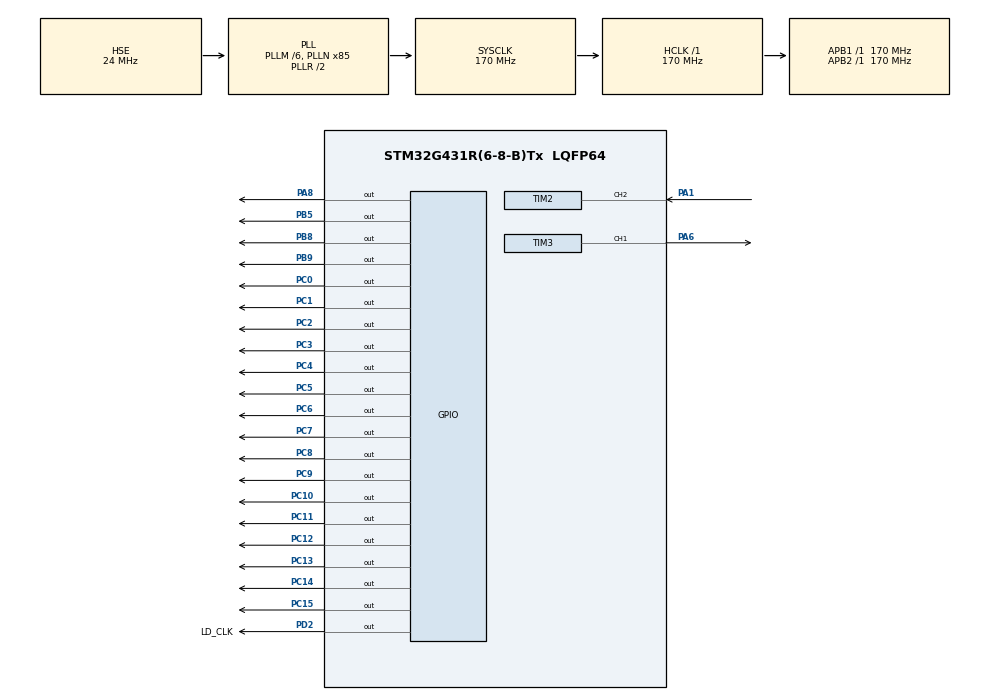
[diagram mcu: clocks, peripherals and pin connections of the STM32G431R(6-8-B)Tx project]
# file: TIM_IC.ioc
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Mcu.Family=STM32G4
Mcu.Name=STM32G431R(6-8-B)Tx
Mcu.Package=LQFP64
NVIC.PriorityGroup=NVIC_PRIORITYGROUP_4
NVIC.TIM2_IRQn=true\:0\:0\:false\:false\:true\:true\:true
NVIC.TIM3_IRQn=true\:0\:0\:false\:false\:true\:true\:true
PA1.GPIO_PuPd=GPIO_PULLDOWN
PA1.GPIO_Speed=GPIO_SPEED_FREQ_HIGH
PA1.Signal=S_TIM2_CH2
PA6.GPIO_Speed=GPIO_SPEED_FREQ_VERY_HIGH
PA6.Signal=S_TIM3_CH1
PA8.Signal=GPIO_Output
PB5.Signal=GPIO_Output
PB8-BOOT0.Signal=GPIO_Output
PB9.Signal=GPIO_Output
PC0.Signal=GPIO_Output
PC1.Signal=GPIO_Output
PC10.Signal=GPIO_Output
PC11.Signal=GPIO_Output
PC12.Signal=GPIO_Output
PC13.Signal=GPIO_Output
PC14-OSC32_IN.Signal=GPIO_Output
PC15-OSC32_OUT.Signal=GPIO_Output
PC2.Signal=GPIO_Output
PC3.Signal=GPIO_Output
PC4.Signal=GPIO_Output
PC5.Signal=GPIO_Output
PC6.Signal=GPIO_Output
PC7.Signal=GPIO_Output
PC8.Signal=GPIO_Output
PC9.Signal=GPIO_Output
PD2.GPIO_Label=LD_CLK
PD2.Signal=GPIO_Output
PF0-OSC_IN.Mode=HSE-External-Oscillator
PF0-OSC_IN.Signal=RCC_OSC_IN
PF1-OSC_OUT.Mode=HSE-External-Oscillator
PF1-OSC_OUT.Signal=RCC_OSC_OUT
ProjectManager.HeapSize=0x200
ProjectManager.StackSize=0x400
ProjectManager.TargetToolchain=MDK-ARM V5.27
RCC.ADC12Freq_Value=170000000
RCC.AHBFreq_Value=170000000
RCC.APB1Freq_Value=170000000
RCC.APB1TimFreq_Value=170000000
RCC.APB2Freq_Value=170000000
RCC.APB2TimFreq_Value=170000000
RCC.CortexFreq_Value=170000000
RCC.EXTERNAL_CLOCK_VALUE=12288000
RCC.HCLKFreq_Value=170000000
RCC.HSE_VALUE=24000000
RCC.HSI48_VALUE=48000000
RCC.HSI_VALUE=16000000
RCC.LSE_VALUE=32768
RCC.PLLM=RCC_PLLM_DIV6
RCC.PLLN=85
RCC.PLLSourceVirtual=RCC_PLLSOURCE_HSE
RCC.SYSCLKFreq_VALUE=170000000
RCC.SYSCLKSource=RCC_SYSCLKSOURCE_PLLCLK
RCC.USBFreq_Value=170000000
RCC.VCOOutputFreq_Value=340000000
SH.S_TIM2_CH2.0=TIM2_CH2,Input_Capture2_from_TI2
SH.S_TIM2_CH2.1=TIM2_CH2,Input_Capture1_from_TI2
SH.S_TIM2_CH2.2=TIM2_CH2,TriggerSource_TI2FP2
SH.S_TIM3_CH1.0=TIM3_CH1,PWM Generation1 CH1
TIM2.Channel-Input_Capture1_from_TI2=TIM_CHANNEL_1
TIM2.Channel-Input_Capture2_from_TI2=TIM_CHANNEL_2
TIM2.ICFilter_CH2=0
TIM2.ICPolarity_CH1=TIM_INPUTCHANNELPOLARITY_FALLING
TIM2.PeriodNoDither=0xffffffff
TIM2.Prescaler=170-1
TIM3.Channel-PWM\ Generation1\ CH1=TIM_CHANNEL_1
TIM3.PeriodNoDither=10-1
TIM3.Prescaler=170-1
TIM3.PulseNoDither_1=2
VP_SYS_VS_DBSignals.Mode=DisableDeadBatterySignals
VP_TIM2_VS_ClockSourceINT.Mode=Internal
VP_TIM2_VS_ControllerModeReset.Mode=Reset Mode
VP_TIM3_VS_ClockSourceINT.Mode=Internal
board=custom

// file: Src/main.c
/* USER CODE BEGIN Header */
/**
  ******************************************************************************
  * @file           : main.c
  * @brief          : Main program body
  ******************************************************************************
  * @attention
  *
  * <h2><center>&copy; Copyright (c) 2021 STMicroelectronics.
  * All rights reserved.</center></h2>
  *
  * This software component is licensed by ST under BSD 3-Clause license,
  * the "License"; You may not use this file except in compliance with the
  * License. You may obtain a copy of the License at:
  *                        opensource.org/licenses/BSD-3-Clause
  *
  ******************************************************************************
  */
/* USER CODE END Header */
#include "main.h"

/* USER CODE BEGIN Includes */
#include <stdio.h>
#include <string.h>
#include "lcd.h"
/* USER CODE END Includes */

TIM_HandleTypeDef htim2;
TIM_HandleTypeDef htim3;

/* USER CODE BEGIN PV */
/* Captured Value */
__IO uint32_t            uwIC2Value = 0;
/* Duty Cycle Value */
__IO float            uwDutyCycle = 0;
/* Frequency Value */
__IO float            uwFrequency = 0;

uint8_t buf[30];
/* USER CODE END PV */

void SystemClock_Config(void);
static void MX_GPIO_Init(void);
static void MX_TIM2_Init(void);
static void MX_TIM3_Init(void);

/* USER CODE BEGIN 0 */
//int fputc(int ch, FILE *f)
//{
//	HAL_UART_Transmit(&huart1, (uint8_t *)&ch, 1, HAL_MAX_DELAY);
//	return ch;
//}
/* USER CODE END 0 */

int main(void)
{

  /* MCU Configuration--------------------------------------------------------*/

  /* Reset of all peripherals, Initializes the Flash interface and the Systick. */
  HAL_Init();

  /* Configure the system clock */
  SystemClock_Config();

  /* Initialize all configured peripherals */
  MX_GPIO_Init();
  MX_TIM2_Init();
  MX_TIM3_Init();
  /* USER CODE BEGIN 2 */
	LCD_Init();
	LCD_Clear(White);
	LCD_SetBackColor(White);
	LCD_SetTextColor(Black);

	HAL_TIM_PWM_Start(&htim3, TIM_CHANNEL_1);
	HAL_TIM_IC_Start_IT(&htim2, TIM_CHANNEL_1);
	HAL_TIM_IC_Start_IT(&htim2, TIM_CHANNEL_2);
  /* USER CODE END 2 */

  /* Infinite loop */
  while (1)
  {

    /* USER CODE BEGIN 3 */
//		printf("%.0f\r\n", uwFrequency);
//		printf("%.0f\r\n", uwDutyCycle);
//		HAL_Delay(500);

  }
  /* USER CODE END 3 */
}

void SystemClock_Config(void)
{
  RCC_OscInitTypeDef RCC_OscInitStruct = {0};
  RCC_ClkInitTypeDef RCC_ClkInitStruct = {0};

  /** Configure the main internal regulator output voltage
  */
  HAL_PWREx_ControlVoltageScaling(PWR_REGULATOR_VOLTAGE_SCALE1_BOOST);
  /** Initializes the RCC Oscillators according to the specified parameters
  * in the RCC_OscInitTypeDef structure.
  */
  RCC_OscInitStruct.OscillatorType = RCC_OSCILLATORTYPE_HSE;
  RCC_OscInitStruct.HSEState = RCC_HSE_ON;
  RCC_OscInitStruct.PLL.PLLState = RCC_PLL_ON;
  RCC_OscInitStruct.PLL.PLLSource = RCC_PLLSOURCE_HSE;
  RCC_OscInitStruct.PLL.PLLM = RCC_PLLM_DIV6;
  RCC_OscInitStruct.PLL.PLLN = 85;
  RCC_OscInitStruct.PLL.PLLP = RCC_PLLP_DIV2;
  RCC_OscInitStruct.PLL.PLLQ = RCC_PLLQ_DIV2;
  RCC_OscInitStruct.PLL.PLLR = RCC_PLLR_DIV2;
  if (HAL_RCC_OscConfig(&RCC_OscInitStruct) != HAL_OK)
  {
    Error_Handler();
  }
  /** Initializes the CPU, AHB and APB buses clocks
  */
  RCC_ClkInitStruct.ClockType = RCC_CLOCKTYPE_HCLK|RCC_CLOCKTYPE_SYSCLK
                              |RCC_CLOCKTYPE_PCLK1|RCC_CLOCKTYPE_PCLK2;
  RCC_ClkInitStruct.SYSCLKSource = RCC_SYSCLKSOURCE_PLLCLK;
  RCC_ClkInitStruct.AHBCLKDivider = RCC_SYSCLK_DIV1;
  RCC_ClkInitStruct.APB1CLKDivider = RCC_HCLK_DIV1;
  RCC_ClkInitStruct.APB2CLKDivider = RCC_HCLK_DIV1;

  if (HAL_RCC_ClockConfig(&RCC_ClkInitStruct, FLASH_LATENCY_4) != HAL_OK)
  {
    Error_Handler();
  }
}

static void MX_TIM2_Init(void)
{

  TIM_ClockConfigTypeDef sClockSourceConfig = {0};
  TIM_SlaveConfigTypeDef sSlaveConfig = {0};
  TIM_MasterConfigTypeDef sMasterConfig = {0};
  TIM_IC_InitTypeDef sConfigIC = {0};

  htim2.Instance = TIM2;
  htim2.Init.Prescaler = 0;
  htim2.Init.CounterMode = TIM_COUNTERMODE_UP;
  htim2.Init.Period = 0xFFFFFFFF;
  htim2.Init.ClockDivision = TIM_CLOCKDIVISION_DIV1;
  htim2.Init.AutoReloadPreload = TIM_AUTORELOAD_PRELOAD_DISABLE;
  if (HAL_TIM_Base_Init(&htim2) != HAL_OK)
  {
    Error_Handler();
  }
  sClockSourceConfig.ClockSource = TIM_CLOCKSOURCE_INTERNAL;
  if (HAL_TIM_ConfigClockSource(&htim2, &sClockSourceConfig) != HAL_OK)
  {
    Error_Handler();
  }
  if (HAL_TIM_IC_Init(&htim2) != HAL_OK)
  {
    Error_Handler();
  }
  sSlaveConfig.SlaveMode = TIM_SLAVEMODE_RESET;
  sSlaveConfig.InputTrigger = TIM_TS_TI2FP2;
  sSlaveConfig.TriggerPolarity = TIM_INPUTCHANNELPOLARITY_RISING;
  sSlaveConfig.TriggerFilter = 0;
  if (HAL_TIM_SlaveConfigSynchro(&htim2, &sSlaveConfig) != HAL_OK)
  {
    Error_Handler();
  }
  sMasterConfig.MasterOutputTrigger = TIM_TRGO_RESET;
  sMasterConfig.MasterSlaveMode = TIM_MASTERSLAVEMODE_DISABLE;
  if (HAL_TIMEx_MasterConfigSynchronization(&htim2, &sMasterConfig) != HAL_OK)
  {
    Error_Handler();
  }
  sConfigIC.ICPolarity = TIM_INPUTCHANNELPOLARITY_FALLING;
  sConfigIC.ICSelection = TIM_ICSELECTION_INDIRECTTI;
  sConfigIC.ICPrescaler = TIM_ICPSC_DIV1;
  sConfigIC.ICFilter = 0;
  if (HAL_TIM_IC_ConfigChannel(&htim2, &sConfigIC, TIM_CHANNEL_1) != HAL_OK)
  {
    Error_Handler();
  }
  sConfigIC.ICPolarity = TIM_INPUTCHANNELPOLARITY_RISING;
  sConfigIC.ICSelection = TIM_ICSELECTION_DIRECTTI;
  if (HAL_TIM_IC_ConfigChannel(&htim2, &sConfigIC, TIM_CHANNEL_2) != HAL_OK)
  {
    Error_Handler();
  }

}

static void MX_TIM3_Init(void)
{

  TIM_ClockConfigTypeDef sClockSourceConfig = {0};
  TIM_MasterConfigTypeDef sMasterConfig = {0};
  TIM_OC_InitTypeDef sConfigOC = {0};

  htim3.Instance = TIM3;
  htim3.Init.Prescaler = 17-1;
  htim3.Init.CounterMode = TIM_COUNTERMODE_UP;
  htim3.Init.Period = 25-1;
  htim3.Init.ClockDivision = TIM_CLOCKDIVISION_DIV1;
  htim3.Init.AutoReloadPreload = TIM_AUTORELOAD_PRELOAD_DISABLE;
  if (HAL_TIM_Base_Init(&htim3) != HAL_OK)
  {
    Error_Handler();
  }
  sClockSourceConfig.ClockSource = TIM_CLOCKSOURCE_INTERNAL;
  if (HAL_TIM_ConfigClockSource(&htim3, &sClockSourceConfig) != HAL_OK)
  {
    Error_Handler();
  }
  if (HAL_TIM_PWM_Init(&htim3) != HAL_OK)
  {
    Error_Handler();
  }
  sMasterConfig.MasterOutputTrigger = TIM_TRGO_RESET;
  sMasterConfig.MasterSlaveMode = TIM_MASTERSLAVEMODE_DISABLE;
  if (HAL_TIMEx_MasterConfigSynchronization(&htim3, &sMasterConfig) != HAL_OK)
  {
    Error_Handler();
  }
  sConfigOC.OCMode = TIM_OCMODE_PWM1;
  sConfigOC.Pulse = 20;
  sConfigOC.OCPolarity = TIM_OCPOLARITY_HIGH;
  sConfigOC.OCFastMode = TIM_OCFAST_DISABLE;
  if (HAL_TIM_PWM_ConfigChannel(&htim3, &sConfigOC, TIM_CHANNEL_1) != HAL_OK)
  {
    Error_Handler();
  }
  HAL_TIM_MspPostInit(&htim3);

}

static void MX_GPIO_Init(void)
{
  GPIO_InitTypeDef GPIO_InitStruct = {0};

  /* GPIO Ports Clock Enable */
  __HAL_RCC_GPIOC_CLK_ENABLE();
  __HAL_RCC_GPIOF_CLK_ENABLE();
  __HAL_RCC_GPIOA_CLK_ENABLE();
  __HAL_RCC_GPIOD_CLK_ENABLE();
  __HAL_RCC_GPIOB_CLK_ENABLE();

  /*Configure GPIO pin Output Level */
  HAL_GPIO_WritePin(GPIOC, GPIO_PIN_13|GPIO_PIN_14|GPIO_PIN_15|GPIO_PIN_0
                          |GPIO_PIN_1|GPIO_PIN_2|GPIO_PIN_3|GPIO_PIN_4
                          |GPIO_PIN_5|GPIO_PIN_6|GPIO_PIN_7|GPIO_PIN_8
                          |GPIO_PIN_9|GPIO_PIN_10|GPIO_PIN_11|GPIO_PIN_12, GPIO_PIN_RESET);

  /*Configure GPIO pin Output Level */
  HAL_GPIO_WritePin(GPIOA, GPIO_PIN_8, GPIO_PIN_RESET);

  /*Configure GPIO pin Output Level */
  HAL_GPIO_WritePin(LD_CLK_GPIO_Port, LD_CLK_Pin, GPIO_PIN_RESET);

  /*Configure GPIO pin Output Level */
  HAL_GPIO_WritePin(GPIOB, GPIO_PIN_5|GPIO_PIN_8|GPIO_PIN_9, GPIO_PIN_RESET);

  /*Configure GPIO pins : PC13 PC14 PC15 PC0
                           PC1 PC2 PC3 PC4
                           PC5 PC6 PC7 PC8
                           PC9 PC10 PC11 PC12 */
  GPIO_InitStruct.Pin = GPIO_PIN_13|GPIO_PIN_14|GPIO_PIN_15|GPIO_PIN_0
                          |GPIO_PIN_1|GPIO_PIN_2|GPIO_PIN_3|GPIO_PIN_4
                          |GPIO_PIN_5|GPIO_PIN_6|GPIO_PIN_7|GPIO_PIN_8
                          |GPIO_PIN_9|GPIO_PIN_10|GPIO_PIN_11|GPIO_PIN_12;
  GPIO_InitStruct.Mode = GPIO_MODE_OUTPUT_PP;
  GPIO_InitStruct.Pull = GPIO_NOPULL;
  GPIO_InitStruct.Speed = GPIO_SPEED_FREQ_LOW;
  HAL_GPIO_Init(GPIOC, &GPIO_InitStruct);

  /*Configure GPIO pin : PA8 */
  GPIO_InitStruct.Pin = GPIO_PIN_8;
  GPIO_InitStruct.Mode = GPIO_MODE_OUTPUT_PP;
  GPIO_InitStruct.Pull = GPIO_NOPULL;
  GPIO_InitStruct.Speed = GPIO_SPEED_FREQ_LOW;
  HAL_GPIO_Init(GPIOA, &GPIO_InitStruct);

  /*Configure GPIO pin : LD_CLK_Pin */
  GPIO_InitStruct.Pin = LD_CLK_Pin;
  GPIO_InitStruct.Mode = GPIO_MODE_OUTPUT_PP;
  GPIO_InitStruct.Pull = GPIO_NOPULL;
  GPIO_InitStruct.Speed = GPIO_SPEED_FREQ_LOW;
  HAL_GPIO_Init(LD_CLK_GPIO_Port, &GPIO_InitStruct);

  /*Configure GPIO pins : PB5 PB8 PB9 */
  GPIO_InitStruct.Pin = GPIO_PIN_5|GPIO_PIN_8|GPIO_PIN_9;
  GPIO_InitStruct.Mode = GPIO_MODE_OUTPUT_PP;
  GPIO_InitStruct.Pull = GPIO_NOPULL;
  GPIO_InitStruct.Speed = GPIO_SPEED_FREQ_LOW;
  HAL_GPIO_Init(GPIOB, &GPIO_InitStruct);

}

/* USER CODE BEGIN 4 */
//void HAL_TIM_PeriodElapsedCallback(TIM_HandleTypeDef *htim)
//{
//	static uint8_t cnt;
//	if(htim->Instance == htim2.Instance)
//	{
//		cnt++;
//		sprintf((char *)buf, "  CNT: %d      ", cnt);
//		LCD_DisplayStringLine(Line3, buf);
//	}
//}
void HAL_TIM_IC_CaptureCallback(TIM_HandleTypeDef *htim)
{
  if (htim->Channel == HAL_TIM_ACTIVE_CHANNEL_2)
  {
    /* Get the Input Capture value */
    uwIC2Value = HAL_TIM_ReadCapturedValue(&htim2, TIM_CHANNEL_2);

    if (uwIC2Value != 0)
    {
      /* Duty cycle computation */
      uwDutyCycle = (float)((HAL_TIM_ReadCapturedValue(&htim2, TIM_CHANNEL_1)) * 100) / uwIC2Value;

      /* uwFrequency computation
      TIM1 counter clock = (System Clock) */
      uwFrequency = (float)(HAL_RCC_GetSysClockFreq() / uwIC2Value);
			sprintf((char *)buf, "  Fre: %.2f       ", uwFrequency);
			LCD_DisplayStringLine(Line1, buf);

			sprintf((char *)buf, "  Duty: %.0f      ", uwDutyCycle);
			LCD_DisplayStringLine(Line2, buf);

    }
    else
    {
      uwDutyCycle = 0;
      uwFrequency = 0;
    }
  }
}
/* USER CODE END 4 */

void Error_Handler(void)
{
  __disable_irq();
  while (1)
  {
  }
}

/************************ (C) COPYRIGHT STMicroelectronics *****END OF FILE****/
